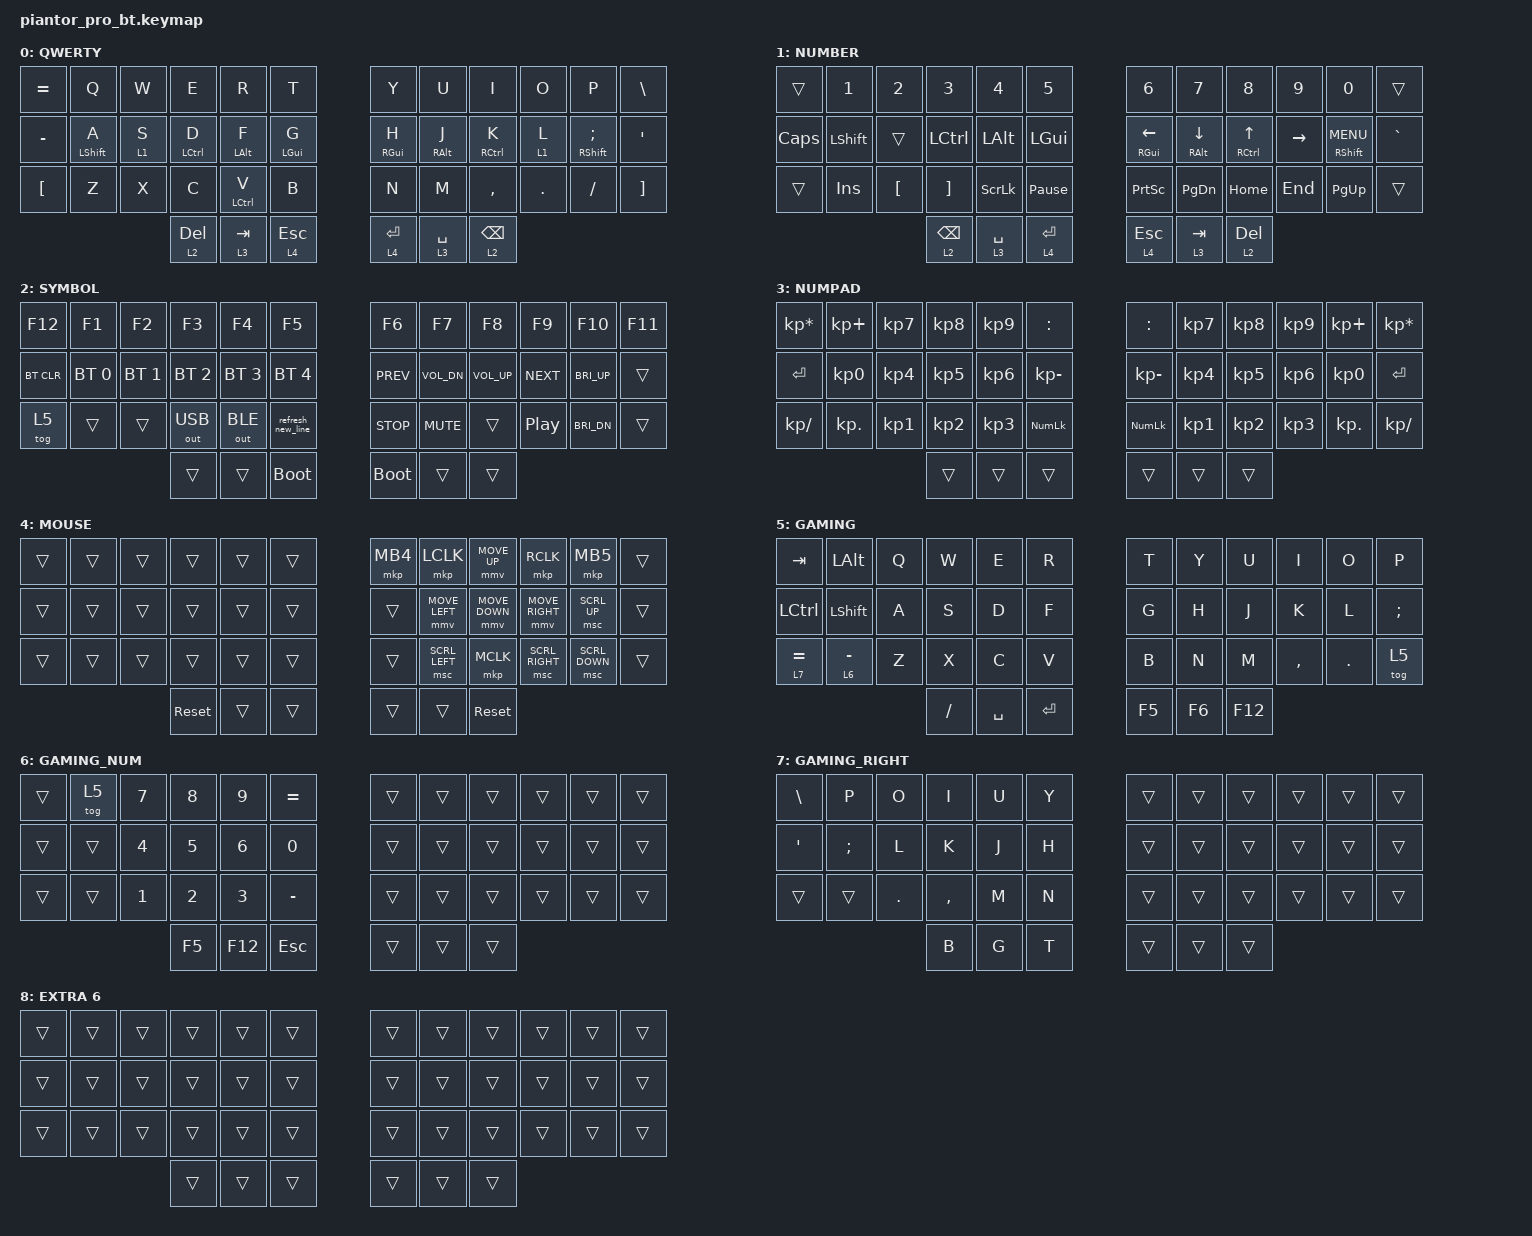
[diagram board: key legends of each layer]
/*
 * Copyright (c) 2020 The ZMK Contributors
 *
 * SPDX-License-Identifier: MIT
 */

#define ZMK_POINTING_DEFAULT_MOVE_VAL 1200  // 600
#define ZMK_POINTING_DEFAULT_SCRL_VAL 25   // 10

#include <input/processors.dtsi>
#include <behaviors.dtsi>
#include <dt-bindings/zmk/keys.h>
#include <dt-bindings/zmk/bt.h>
#include <dt-bindings/zmk/pointing.h>
#include <dt-bindings/zmk/outputs.h>

&mmv_input_listener { input-processors = <&zip_xy_scaler 2 1>; };

&msc_input_listener { input-processors = <&zip_scroll_scaler 2 1>; };

&msc {
    acceleration-exponent = <1>;      // 0
    time-to-max-speed-ms = <100>;       // 300
    delay-ms = <0>;                   // 0
};

&mmv {
    time-to-max-speed-ms = <500>;
    acceleration-exponent = <1>;
    trigger-period-ms = <16>;
};

&lt {
    tapping-term-ms = <150>;
    quick-tap-ms = <200>;
    flavor = "balanced";
};

&mt {
    tapping-term-ms = <150>;
    quick-tap-ms = <200>;
    flavor = "balanced";
};

/ {
    chosen { zmk,physical-layout = &default_layout; };
};

/ {
    macros {
        refresh_new_line: refresh_new_line {
            compatible = "zmk,behavior-macro";
            #binding-cells = <0>;
            bindings = <&macro_tap &kp END &kp DELETE &kp ENTER>;
        };
    };
};

/ {
    keymap {
        compatible = "zmk,keymap";

        default_layer {
            display-name = "QWERTY";
            bindings = <
            // ╭─────────┬────────────┬───────┬───────────┬───────────┬──────────╮╭───────────┬───────────┬───────────┬───────┬───────────────┬────────╮
                &kp EQUAL &kp Q        &kp W   &kp E       &kp R       &kp T       &kp Y       &kp U       &kp I       &kp O   &kp P           &kp BSLH
                &kp MINUS &mt LSHIFT A &lt 1 S &mt LCTRL D &mt LALT F  &mt LGUI G  &mt RGUI H  &mt RALT J  &mt RCTRL K &lt 1 L &mt RSHIFT SEMI &kp SQT
                &kp LBKT  &kp Z        &kp X   &kp C       &mt LCTRL V &kp B       &kp N       &kp M       &kp COMMA   &kp DOT &kp FSLH        &kp RBKT
                                               &lt 2 DEL   &lt 3 TAB   &lt 4 ESC   &lt 4 ENTER &lt 3 SPACE &lt 2 BSPC
            >;
        };

        lower_layer {
            display-name = "NUMBER";
            bindings = <
            // ╭────────┬──────────┬────────┬──────────┬───────────┬───────────────╮╭─────────────┬─────────────┬────────────┬─────────┬─────────────────┬─────────╮
                &trans   &kp N1     &kp N2   &kp N3     &kp N4      &kp N5           &kp N6        &kp N7        &kp N8       &kp N9    &kp N0            &trans
                &kp CAPS &kp LSHIFT &trans   &kp LCTRL  &kp LALT    &kp LGUI         &mt RGUI LEFT &mt RALT DOWN &mt RCTRL UP &kp RIGHT &mt RSHIFT K_MENU &kp GRAVE
                &trans   &kp INS    &kp LBKT &kp RBKT   &kp SLCK    &kp PAUSE_BREAK  &kp PSCRN     &kp PG_DN     &kp HOME     &kp END   &kp PG_UP         &trans
                                             &lt 2 BSPC &lt 3 SPACE &lt 4 ENTER      &lt 4 ESC     &lt 3 TAB     &lt 2 DEL
            >;
        };

        raise_layer {
            display-name = "SYMBOL";
            bindings = <
            // ╭──────────┬────────────┬──────────────┬────────────┬────────────┬─────────────────╮╭───────────┬────────────┬────────────┬───────────┬────────────┬───────╮
                &kp F12    &kp F1       &kp F2         &kp F3       &kp F4       &kp F5             &kp F6      &kp F7       &kp F8       &kp F9      &kp F10      &kp F11
                &bt BT_CLR &bt BT_SEL 0 &bt BT_SEL 1   &bt BT_SEL 2 &bt BT_SEL 3 &bt BT_SEL 4       &kp C_PREV  &kp C_VOL_DN &kp C_VOL_UP &kp C_NEXT  &kp C_BRI_UP &trans
                &tog 5     &trans       &trans         &out OUT_USB &out OUT_BLE &refresh_new_line  &kp C_STOP  &kp C_MUTE   &trans       &kp C_PLAY_PAUSE &kp C_BRI_DN &trans
                                                       &trans       &trans       &bootloader        &bootloader &trans       &trans
            >;
        };

        extra_layer_1 {
            display-name = "NUMPAD";
            bindings = <
            // ╭───────────────┬───────────┬─────────┬─────────┬─────────┬────────────╮╭────────────┬─────────┬─────────┬─────────┬───────────┬───────────────╮
                &kp KP_MULTIPLY &kp KP_PLUS &kp KP_N7 &kp KP_N8 &kp KP_N9 &kp COLON     &kp COLON    &kp KP_N7 &kp KP_N8 &kp KP_N9 &kp KP_PLUS &kp KP_MULTIPLY
                &kp ENTER       &kp KP_N0   &kp KP_N4 &kp KP_N5 &kp KP_N6 &kp KP_MINUS  &kp KP_MINUS &kp KP_N4 &kp KP_N5 &kp KP_N6 &kp KP_N0   &kp ENTER
                &kp KP_DIVIDE   &kp KP_DOT  &kp KP_N1 &kp KP_N2 &kp KP_N3 &kp KP_NUM    &kp KP_NUM   &kp KP_N1 &kp KP_N2 &kp KP_N3 &kp KP_DOT  &kp KP_DIVIDE
                                                      &trans    &trans    &trans        &trans       &trans    &trans
            >;
        };

        extra_layer_2 {
            display-name = "MOUSE";
            bindings = <
            // ╭───────────────┬───────────────┬───────────────┬───────────────┬───────────────┬───────────────╮╭───────────────┬───────────────┬───────────────┬───────────────┬───────────────┬───────────────╮
                &trans          &trans          &trans          &trans          &trans          &trans           &mkp MB4        &mkp LCLK       &mmv MOVE_UP    &mkp RCLK       &mkp MB5        &trans          
                &trans          &trans          &trans          &trans          &trans          &trans           &trans          &mmv MOVE_LEFT  &mmv MOVE_DOWN  &mmv MOVE_RIGHT &msc SCRL_UP    &trans          
                &trans          &trans          &trans          &trans          &trans          &trans           &trans          &msc SCRL_LEFT  &mkp MCLK       &msc SCRL_RIGHT &msc SCRL_DOWN  &trans          
                                                                &sys_reset      &trans          &trans           &trans          &trans          &sys_reset
            >;
        };

        extra_layer_3 {
            display-name = "GAMING";
            bindings = <
            // ╭───────────────┬───────────────┬───────────────┬───────────────┬───────────────┬───────────────╮╭───────────────┬───────────────┬───────────────┬───────────────┬───────────────┬───────────────╮
                &kp TAB         &kp LALT        &kp Q           &kp W           &kp E           &kp R            &kp T           &kp Y           &kp U           &kp I           &kp O           &kp P           
                &kp LCTRL       &kp LSHIFT      &kp A           &kp S           &kp D           &kp F            &kp G           &kp H           &kp J           &kp K           &kp L           &kp SEMI        
                &lt 7 EQUAL     &lt 6 MINUS     &kp Z           &kp X           &kp C           &kp V            &kp B           &kp N           &kp M           &kp COMMA       &kp DOT         &tog 5          
                                                                &kp FSLH        &kp SPACE       &kp ENTER        &kp F5          &kp F6          &kp F12                                                         
            >;
        };

        extra_layer_4 {
            display-name = "GAMING_NUM";
            bindings = <
            // ╭───────────────┬───────────────┬───────────────┬───────────────┬───────────────┬───────────────╮╭───────────────┬───────────────┬───────────────┬───────────────┬───────────────┬───────────────╮
                &trans          &tog 5          &kp N7          &kp N8          &kp N9          &kp EQUAL        &trans          &trans          &trans          &trans          &trans          &trans          
                &trans          &trans          &kp N4          &kp N5          &kp N6          &kp N0           &trans          &trans          &trans          &trans          &trans          &trans          
                &trans          &trans          &kp N1          &kp N2          &kp N3          &kp MINUS        &trans          &trans          &trans          &trans          &trans          &trans          
                                                                &kp F5          &kp F12         &kp ESC          &trans          &trans          &trans                                                          
            >;
        };

        extra_layer_5 {
            display-name = "GAMING_RIGHT";
            bindings = <
            // ╭───────────────┬───────────────┬───────────────┬───────────────┬───────────────┬───────────────╮╭───────────────┬───────────────┬───────────────┬───────────────┬───────────────┬───────────────╮
                &kp BSLH        &kp P           &kp O           &kp I           &kp U           &kp Y            &trans          &trans          &trans          &trans          &trans          &trans          
                &kp SQT         &kp SEMI        &kp L           &kp K           &kp J           &kp H            &trans          &trans          &trans          &trans          &trans          &trans          
                &trans          &trans          &kp DOT         &kp COMMA       &kp M           &kp N            &trans          &trans          &trans          &trans          &trans          &trans          
                                                                &kp B           &kp G           &kp T            &trans          &trans          &trans                                                          
            >;
        };

        extra_layer_6 {
            display-name = "EXTRA 6";
            bindings = <
            // ╭───────────────┬───────────────┬───────────────┬───────────────┬───────────────┬───────────────╮╭───────────────┬───────────────┬───────────────┬───────────────┬───────────────┬───────────────╮
                &trans          &trans          &trans          &trans          &trans          &trans           &trans          &trans          &trans          &trans          &trans          &trans          
                &trans          &trans          &trans          &trans          &trans          &trans           &trans          &trans          &trans          &trans          &trans          &trans          
                &trans          &trans          &trans          &trans          &trans          &trans           &trans          &trans          &trans          &trans          &trans          &trans          
                                                                &trans          &trans          &trans           &trans          &trans          &trans                                                          
            >;
        };
    };
};
